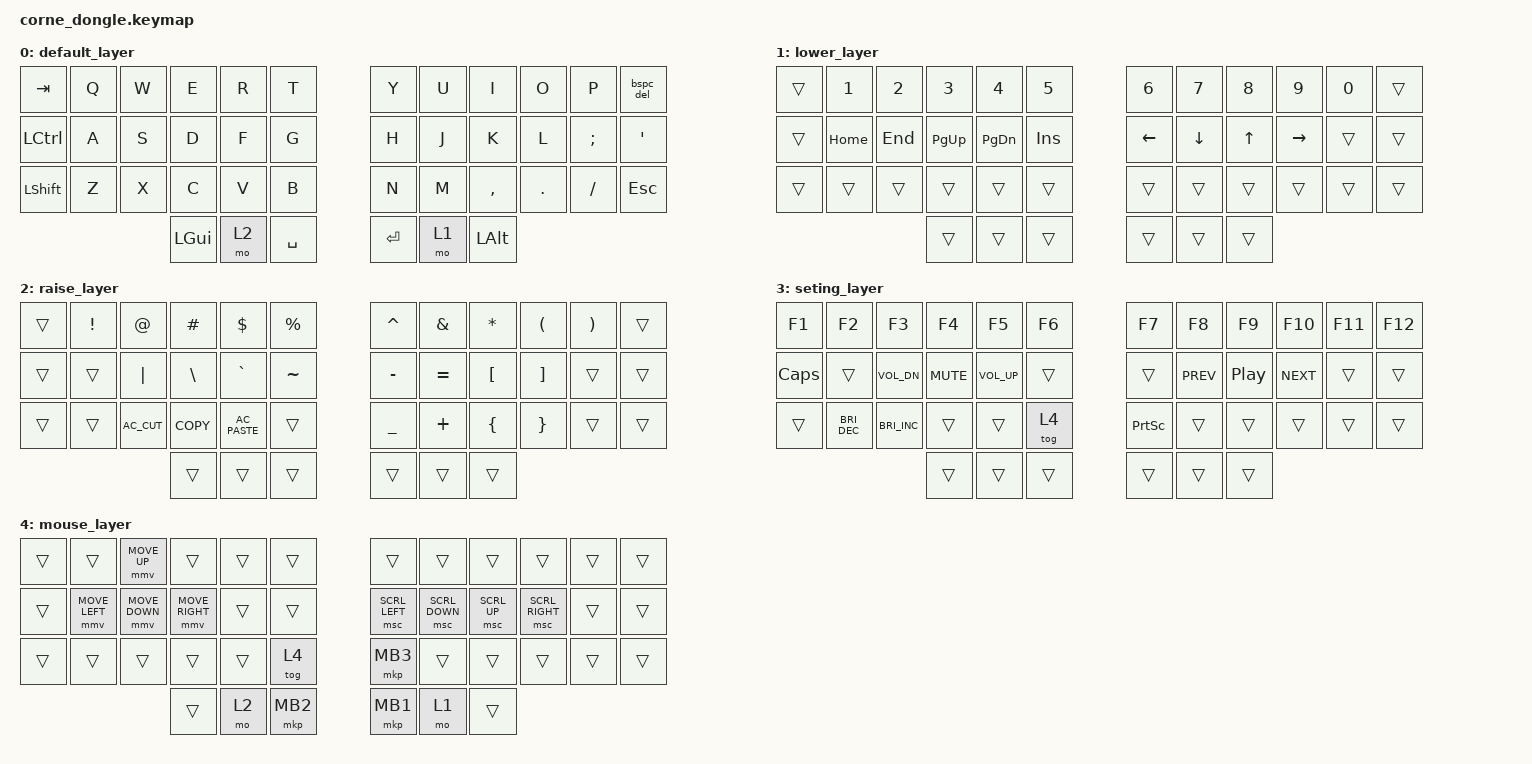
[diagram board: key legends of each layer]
/*
 * Copyright (c) 2020 The ZMK Contributors
 *
 * SPDX-License-Identifier: MIT
 */

#define ZMK_POINTING_DEFAULT_MOVE_VAL 1600
#define ZMK_POINTING_DEFAULT_SCRL_VAL 20

#include <behaviors.dtsi>
#include <dt-bindings/zmk/keys.h>
#include <dt-bindings/zmk/pointing.h>

&msc { delay-ms = <0>; };

/ {
    behaviors {
        bspc_del: bspc_del {
            compatible = "zmk,behavior-mod-morph";
            label = "BSPC_DEL";
            bindings = <&kp BACKSPACE>, <&kp DEL>;

            #binding-cells = <0>;
            mods = <(MOD_LSFT|MOD_RSFT)>;
        };
    };

    keymap {
        compatible = "zmk,keymap";

        default_layer {
            // -----------------------------------------------------------------------------------------
            // |  TAB |  Q  |  W  |  E  |  R  |  T  |   |  Y  |  U   |  I  |  O  |  P  | BSPC |
            // | CTRL |  A  |  S  |  D  |  F  |  G  |   |  H  |  J   |  K  |  L  |  ;  |  '   |
            // | SHFT |  Z  |  X  |  C  |  V  |  B  |   |  N  |  M   |  ,  |  .  |  /  | ESC  |
            //                    | GUI | LWR | SPC |   | ENT | RSE  | ALT |

            bindings = <
&kp TAB    &kp Q  &kp W  &kp E     &kp R  &kp T        &kp Y    &kp U  &kp I      &kp O    &kp P     &bspc_del
&kp LCTRL  &kp A  &kp S  &kp D     &kp F  &kp G        &kp H    &kp J  &kp K      &kp L    &kp SEMI  &kp SQT
&kp LSHFT  &kp Z  &kp X  &kp C     &kp V  &kp B        &kp N    &kp M  &kp COMMA  &kp DOT  &kp FSLH  &kp ESC
                         &kp LGUI  &mo 2  &kp SPACE    &kp RET  &mo 1  &kp LALT
            >;
        };

        lower_layer {
            // -----------------------------------------------------------------------------------------
            // |  TAB |  1  |  2  |  3  |  4  |  5  |   |  6  |  7  |  8  |  9  |  0  | BSPC |
            // | BTCLR| BT1 | BT2 | BT3 | BT4 | BT5 |   | LFT | DWN |  UP | RGT |     |      |
            // | SHFT |     |     |     |     |     |   |     |     |     |     |     |      |
            //                    | GUI |     | SPC |   | ENT |     | ALT |

            bindings = <
&trans  &kp N1    &kp N2   &kp N3       &kp N4         &kp N5        &kp N6    &kp N7    &kp N8  &kp N9     &kp N0  &trans
&trans  &kp HOME  &kp END  &kp PAGE_UP  &kp PAGE_DOWN  &kp INSERT    &kp LEFT  &kp DOWN  &kp UP  &kp RIGHT  &trans  &trans
&trans  &trans    &trans   &trans       &trans         &trans        &trans    &trans    &trans  &trans     &trans  &trans
                           &trans       &trans         &trans        &trans    &trans    &trans
            >;
        };

        raise_layer {
            // -----------------------------------------------------------------------------------------
            // |  TAB |  !  |  @  |  #  |  $  |  %  |   |  ^  |  &  |  *  |  (  |  )  | BSPC |
            // | CTRL |     |     |     |     |     |   |  -  |  =  |  [  |  ]  |  \  |  `   |
            // | SHFT |     |     |     |     |     |   |  _  |  +  |  {  |  }  | "|" |  ~   |
            //                    | GUI |     | SPC |   | ENT |     | ALT |

            bindings = <
&trans  &kp EXCL  &kp AT        &kp HASH       &kp DLLR        &kp PRCNT    &kp CARET  &kp AMPS   &kp ASTRK  &kp LPAR  &kp RPAR  &trans
&trans  &trans    &kp PIPE      &kp BACKSLASH  &kp GRAVE       &kp TILDE    &kp MINUS  &kp EQUAL  &kp LBKT   &kp RBKT  &trans    &trans
&trans  &trans    &kp C_AC_CUT  &kp K_COPY     &kp C_AC_PASTE  &trans       &kp UNDER  &kp PLUS   &kp LBRC   &kp RBRC  &trans    &trans
                                &trans         &trans          &trans       &trans     &trans     &trans
            >;
        };

        seting_layer {
            bindings = <
&kp F1    &kp F2         &kp F3                &kp F4      &kp F5        &kp F6    &kp F7           &kp F8      &kp F9            &kp F10     &kp F11  &kp F12
&kp CAPS  &trans         &kp C_VOL_DN          &kp C_MUTE  &kp C_VOL_UP  &trans    &trans           &kp C_PREV  &kp C_PLAY_PAUSE  &kp C_NEXT  &trans   &trans
&trans    &kp C_BRI_DEC  &kp C_BRIGHTNESS_INC  &trans      &trans        &tog 4    &kp PRINTSCREEN  &trans      &trans            &trans      &trans   &trans
                                               &trans      &trans        &trans    &trans           &trans      &trans
            >;
        };

        mouse_layer {
            bindings = <
&trans  &trans          &mmv MOVE_UP    &trans           &trans  &trans      &trans          &trans          &trans        &trans           &trans  &trans
&trans  &mmv MOVE_LEFT  &mmv MOVE_DOWN  &mmv MOVE_RIGHT  &trans  &trans      &msc SCRL_LEFT  &msc SCRL_DOWN  &msc SCRL_UP  &msc SCRL_RIGHT  &trans  &trans
&trans  &trans          &trans          &trans           &trans  &tog 4      &mkp MB3        &trans          &trans        &trans           &trans  &trans
                                        &trans           &mo 2   &mkp MB2    &mkp MB1        &mo 1           &trans
            >;
        };
    };

    conditional_layers {
        compatible = "zmk,conditional-layers";

        seting_layer {
            if-layers = <1 2>;
            then-layer = <3>;
        };
    };
};
